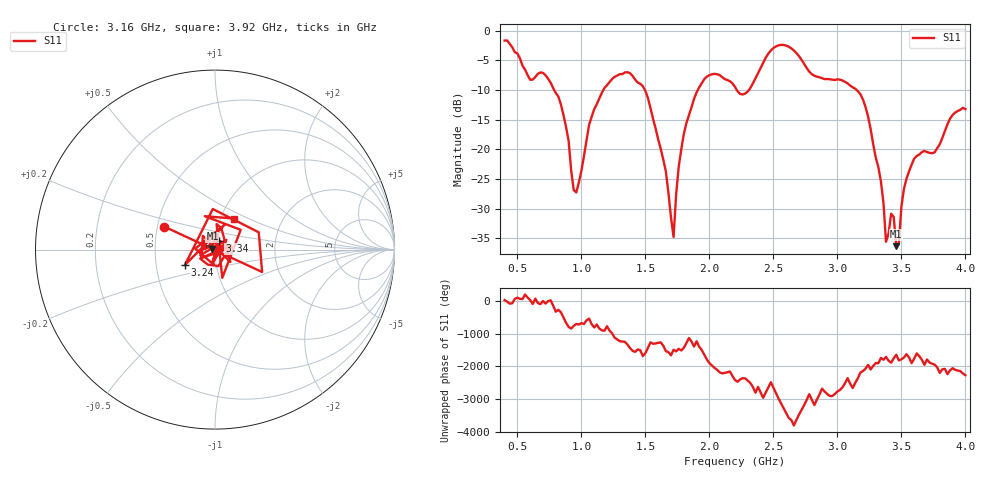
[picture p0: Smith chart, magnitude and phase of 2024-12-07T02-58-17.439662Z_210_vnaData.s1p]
!Created with skrf (http://scikit-rf.org).
# Hz S RI R 50.0
!freq ReS11 ImS11
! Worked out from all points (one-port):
!   181 points, 400 MHz to 4 GHz, reference 50 ohm
!   lowest |S11| = -36.3 dB at 3.46 GHz (marker M1), VSWR 1.03, Z = 48.6 + j0.504 ohm
!   |S11| at or under -10 dB: 787 MHz to 1.172 GHz (384.6 MHz wide, 39.3 % of centre); 1.496 GHz to 1.91 GHz (413.7 MHz wide, 24.3 % of centre); 3.15 GHz to end of sweep (the widest 3 of 4)
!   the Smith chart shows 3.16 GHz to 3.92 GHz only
!   S11 on the Smith chart (normalised r, x): 3.16 GHz: 0.55, +0.15; 3.24 GHz: 0.70, -0.13; 3.34 GHz: 1.04, +0.10; 3.92 GHz: 1.16, +0.42
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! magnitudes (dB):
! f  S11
! 400 MHz  -1.7
! 600 MHz  -8.3
! 720 MHz  -7.5
! 860 MHz  -14.2
! 960 MHz  -27.3
! 1.1 GHz  -13.2
! 1.3 GHz  -7.3
! 1.52 GHz  -11.4
! 1.66 GHz  -23.7
! 1.72 GHz  -34.8
! 1.76 GHz  -23.0
! 1.82 GHz  -15.6
! 1.96 GHz  -8.2
! 2.2 GHz  -9.5
! 2.3 GHz  -10.3
! 2.52 GHz  -2.7
! 2.66 GHz  -3.4
! 3.1 GHz  -9.3
! 3.16 GHz  -10.2
! 3.24 GHz  -14.5
! 3.34 GHz  -25.4
! 3.38 GHz  -35.6
! 3.42 GHz  -30.9
! 3.46 GHz  -36.3
! 3.56 GHz  -23.7
! 3.76 GHz  -20.5
! 3.92 GHz  -13.8
! 4 GHz  -13.2
